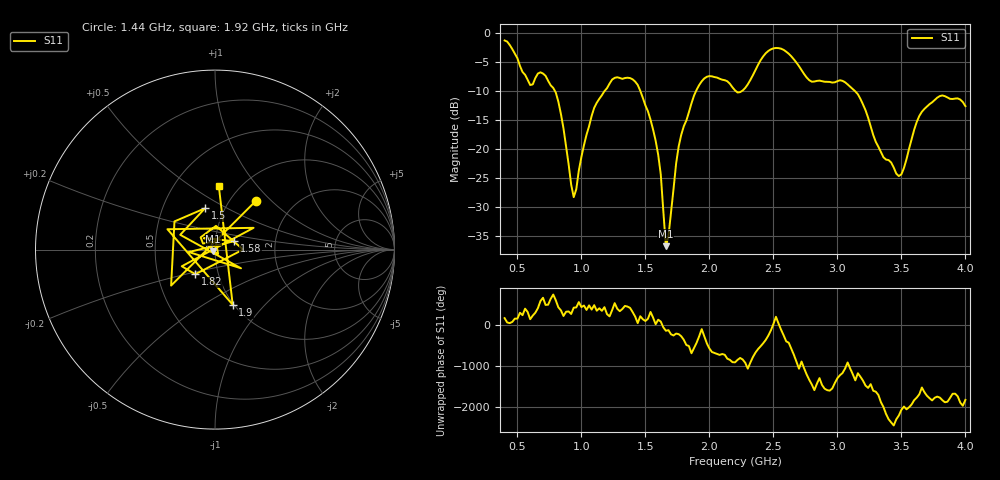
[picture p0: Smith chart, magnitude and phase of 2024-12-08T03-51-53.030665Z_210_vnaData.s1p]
!Created with skrf (http://scikit-rf.org).
# Hz S RI R 50.0
!freq ReS11 ImS11
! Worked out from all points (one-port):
!   181 points, 400 MHz to 4 GHz, reference 50 ohm
!   lowest |S11| = -36.8 dB at 1.66 GHz (marker M1), VSWR 1.03, Z = 48.9 - j0.964 ohm
!   |S11| at or under -10 dB: 792.6 MHz to 1.182 GHz (389.3 MHz wide, 39.4 % of centre); 1.46 GHz to 1.896 GHz (436.4 MHz wide, 26 % of centre); 3.135 GHz to end of sweep (the widest 3 of 4)
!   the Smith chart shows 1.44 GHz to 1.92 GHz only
!   S11 on the Smith chart (normalised r, x): 1.44 GHz: 1.31, +0.81; 1.5 GHz: 0.81, +0.39; 1.58 GHz: 1.24, +0.12; 1.82 GHz: 0.78, -0.22; 1.9 GHz: 0.99, -0.68; 1.92 GHz: 0.81, +0.65
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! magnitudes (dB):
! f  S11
! 400 MHz  -1.3
! 600 MHz  -9.0
! 720 MHz  -7.4
! 800 MHz  -10.3
! 860 MHz  -16.5
! 940 MHz  -28.3
! 1.1 GHz  -12.9
! 1.3 GHz  -7.8
! 1.44 GHz  -9.0
! 1.5 GHz  -12.5
! 1.58 GHz  -18.6
! 1.62 GHz  -24.4
! 1.66 GHz  -36.8
! 1.76 GHz  -19.6
! 1.82 GHz  -15.1
! 1.9 GHz  -9.8
! 1.92 GHz  -9.0
! 2.2 GHz  -9.9
! 2.48 GHz  -2.9
! 2.66 GHz  -4.6
! 2.8 GHz  -8.4
! 3.1 GHz  -9.3
! 3.46 GHz  -24.3
! 3.5 GHz  -24.4
! 3.56 GHz  -20.0
! 3.64 GHz  -14.3
! 3.78 GHz  -11.2
! 4 GHz  -12.6
